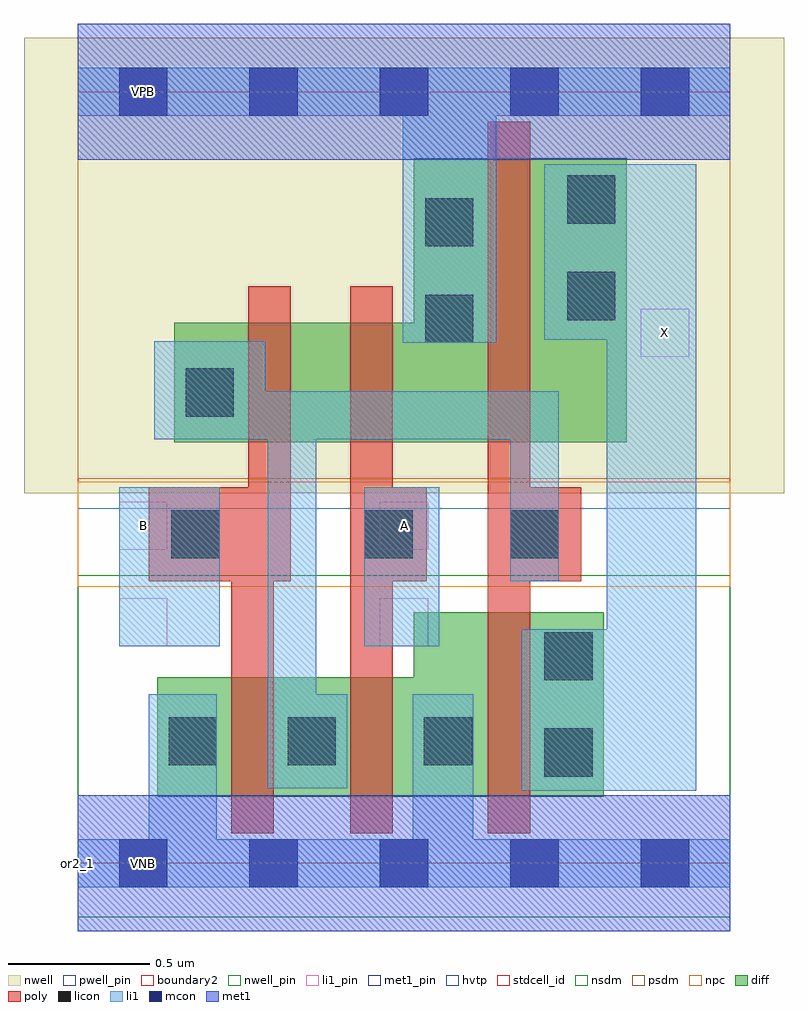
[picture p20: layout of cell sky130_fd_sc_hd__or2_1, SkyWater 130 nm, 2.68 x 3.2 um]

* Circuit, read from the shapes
.subckt sky130_fd_sc_hd__or2_1 A B VGND VNB VPB VPWR X
XM1 n1 B VGND VNB sky130_fd_pr__nfet_01v8 w=0.42 l=0.15
XM2 VGND A n1 VNB sky130_fd_pr__nfet_01v8 w=0.42 l=0.15
XM3 X n1 VGND VNB sky130_fd_pr__nfet_01v8 w=0.65 l=0.15
XM4 n2 B n1 VPB sky130_fd_pr__pfet_01v8_hvt w=0.42 l=0.15
XM5 VPWR A n2 VPB sky130_fd_pr__pfet_01v8_hvt w=0.42 l=0.15
XM6 X n1 VPWR VPB sky130_fd_pr__pfet_01v8_hvt w=1 l=0.15
.ends

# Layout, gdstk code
import gdstk
lib = gdstk.Library(unit=1e-6, precision=1e-09)
def R(c, l, rs):  # rectangles x0, y0, x1, y1
    for r in rs: c.add(gdstk.rectangle(r[:2], r[2:], *l))
def A(c, l, x, y, w, h, nx, ny, dx, dy):  # array of equal rectangles
    R(c, l, [(x+i*dx, y+j*dy, x+i*dx+w, y+j*dy+h) for i in range(nx) for j in range(ny)])
def P(c, l, *ps):  # polygons
    for p in ps: c.add(gdstk.Polygon(p, *l))
nwell_pin = (64, 16)
nwell = (64, 20)
diff = (65, 20)
poly = (66, 20)
licon = (66, 44)
li1_pin = (67, 16)
li1 = (67, 20)
mcon = (67, 44)
met1_pin = (68, 16)
met1 = (68, 20)
hvtp = (78, 44)
stdcell_id = (81, 4)
nsdm = (93, 44)
psdm = (94, 20)
npc = (95, 20)
pwell_pin = (122, 16)
boundary2 = (236, 0)

sky130_fd_sc_hd__or2_1 = lib.new_cell('sky130_fd_sc_hd__or2_1')
R(sky130_fd_sc_hd__or2_1, nwell_pin, [(0.145,2.635,0.315,2.805)])
R(sky130_fd_sc_hd__or2_1, nwell, [(-0.19,1.305,2.49,2.91)])
P(sky130_fd_sc_hd__or2_1, diff, [(1.855,0.885),(1.185,0.885),(1.185,0.655),(0.28,0.655),(0.28,0.235),(1.855,0.235)],
  [(1.935,2.485),(1.185,2.485),(1.185,1.905),(0.34,1.905),(0.34,1.485),(1.935,1.485)])
P(sky130_fd_sc_hd__or2_1, poly, [(0.75,2.035),(0.6,2.035),(0.6,1.325),(0.25,1.325),(0.25,0.995),(0.54,0.995),(0.54,0.105),(0.69,0.105),(0.69,0.995),(0.75,0.995)],
  [(1.775,1.325),(1.595,1.325),(1.595,2.615),(1.445,2.615),(1.445,0.105),(1.595,0.105),(1.595,0.995),(1.775,0.995)],
  [(1.23,1.325),(1.11,1.325),(1.11,2.035),(0.96,2.035),(0.96,0.105),(1.11,0.105),(1.11,0.995),(1.23,0.995)])
R(sky130_fd_sc_hd__or2_1, licon, [(1.645,0.305,1.815,0.475), (0.32,0.345,0.49,0.515), (0.74,0.345,0.91,0.515), (1.22,0.345,1.39,0.515), (1.645,0.645,1.815,0.815), (0.33,1.075,0.5,1.245), (1.01,1.075,1.18,1.245), (1.525,1.075,1.695,1.245), (0.38,1.575,0.55,1.745), (1.225,1.835,1.395,2.005), (1.725,1.915,1.895,2.085), (1.225,2.175,1.395,2.345), (1.725,2.255,1.895,2.425)])
R(sky130_fd_sc_hd__or2_1, li1_pin, [(0.145,0.765,0.315,0.935), (1.065,0.765,1.235,0.935), (0.145,1.105,0.315,1.275), (1.065,1.105,1.235,1.275), (1.985,1.785,2.155,1.955)])
R(sky130_fd_sc_hd__or2_1, li1, [(0.145,0.765,0.5,1.325), (1.01,0.765,1.275,1.325)])
P(sky130_fd_sc_hd__or2_1, li1, [(2.18,2.465),(1.645,2.465),(1.645,1.845),(1.865,1.845),(1.865,0.825),(1.565,0.825),(1.565,0.255),(2.18,0.255)],
  [(1.695,1.665),(0.66,1.665),(0.66,1.84),(0.27,1.84),(0.27,1.495),(0.67,1.495),(0.67,0.265),(0.95,0.265),(0.95,0.595),(0.84,0.595),(0.84,1.495),(1.525,1.495),(1.525,0.995),(1.695,0.995)],
  [(2.3,2.805),(0,2.805),(0,2.635),(1.145,2.635),(1.145,1.835),(1.475,1.835),(1.475,2.635),(2.3,2.635)],
  [(2.3,0.085),(1.395,0.085),(1.395,0.595),(1.18,0.595),(1.18,0.085),(0.49,0.085),(0.49,0.595),(0.25,0.595),(0.25,0.085),(0,0.085),(0,-0.085),(2.3,-0.085)])
A(sky130_fd_sc_hd__or2_1, mcon, 0.145, -0.085, 0.17, 0.17, 5, 2, 0.46, 2.72)
R(sky130_fd_sc_hd__or2_1, met1_pin, [(0.145,-0.085,0.315,0.085), (0.145,2.635,0.315,2.805)])
R(sky130_fd_sc_hd__or2_1, hvtp, [(0,1.25,2.3,2.72)])
R(sky130_fd_sc_hd__or2_1, stdcell_id, [(0,0,2.3,2.72)])
R(sky130_fd_sc_hd__or2_1, nsdm, [(0,-0.19,2.3,1.015)])
R(sky130_fd_sc_hd__or2_1, psdm, [(0,1.355,2.3,2.91)])
R(sky130_fd_sc_hd__or2_1, npc, [(0,0.975,2.3,1.345)])
R(sky130_fd_sc_hd__or2_1, pwell_pin, [(0.145,-0.085,0.315,0.085)])
R(sky130_fd_sc_hd__or2_1, boundary2, [(0,0,2.3,2.72)])
sky130_fd_sc_hd__or2_1.add(gdstk.FlexPath([(0,2.72),(2.3,2.72)], 0.48, ends="flush", simple_path=True, layer=68, datatype=20))  # met1
sky130_fd_sc_hd__or2_1.add(gdstk.FlexPath([(0,0),(2.3,0)], 0.48, ends="flush", simple_path=True, layer=68, datatype=20))  # met1
sky130_fd_sc_hd__or2_1.add(gdstk.Label('A', (1.15,1.19), layer=67, texttype=5))
sky130_fd_sc_hd__or2_1.add(gdstk.Label('X', (2.07,1.87), layer=67, texttype=5))
sky130_fd_sc_hd__or2_1.add(gdstk.Label('B', (0.23,1.19), layer=67, texttype=5))
sky130_fd_sc_hd__or2_1.add(gdstk.Label('VPB', (0.23,2.72), layer=64, texttype=5))
sky130_fd_sc_hd__or2_1.add(gdstk.Label('VNB', (0.23,0), layer=64, texttype=59))
sky130_fd_sc_hd__or2_1.add(gdstk.Label('VGND', (0.23,0), layer=68, texttype=5))
sky130_fd_sc_hd__or2_1.add(gdstk.Label('VPWR', (0.23,2.72), layer=68, texttype=5))
sky130_fd_sc_hd__or2_1.add(gdstk.Label('or2_1', (0,0), layer=83, texttype=44))

lib.write_gds('sky130_fd_sc_hd__or2_1.gds')
